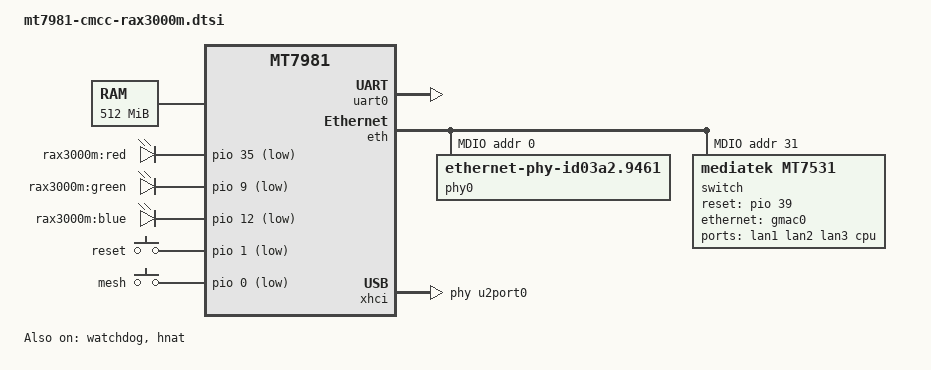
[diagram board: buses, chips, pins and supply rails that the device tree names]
/dts-v1/;
#include "mt7981.dtsi"

/ {
	aliases {
		led-boot = &red_led;
		led-failsafe = &red_led;
		led-running = &green_led;
		led-upgrade = &blue_led;
	};

	memory {
		reg = <0 0x40000000 0 0x20000000>;
	};

	leds {
		compatible = "gpio-leds";

		red_led: red {
			label = "rax3000m:red";
			gpios = <&pio 35 GPIO_ACTIVE_LOW>;
		};

		green_led: green {
			label = "rax3000m:green";
			gpios = <&pio 9 GPIO_ACTIVE_LOW>;
		};

		blue_led: blue {
			label = "rax3000m:blue";
			gpios = <&pio 12 GPIO_ACTIVE_LOW>;
		};
	};

	gpio-keys {
		compatible = "gpio-keys";
		reset {
			label = "reset";
			linux,code = <KEY_RESTART>;
			gpios = <&pio 1 GPIO_ACTIVE_LOW>;
		};

		mesh {
			label = "mesh";
			gpios = <&pio 0 GPIO_ACTIVE_LOW>;
			linux,code = <BTN_9>;
			linux,input-type = <EV_SW>;
		};
	};

	 
};

&uart0 {
	status = "okay";
};

&watchdog {
	status = "okay";
};

&eth {
	status = "okay";

	gmac0: mac@0 {
		compatible = "mediatek,eth-mac";
		reg = <0>;
		phy-mode = "2500base-x";

		fixed-link {
			speed = <2500>;
			full-duplex;
			pause;
		};
	};

	gmac1: mac@1 {
		compatible = "mediatek,eth-mac";
		label = "wan";
		reg = <1>;
		phy-mode = "gmii";
		phy-handle = <&phy0>;
	};

	mdio: mdio-bus {
		#address-cells = <1>;
		#size-cells = <0>;

		phy0: ethernet-phy@0 {
			compatible = "ethernet-phy-id03a2.9461";
			reg = <0>;
			phy-mode = "gmii";
			nvmem-cells = <&phy_calibration>;
			nvmem-cell-names = "phy-cal-data";
		};

		switch@0 {
			compatible = "mediatek,mt7531";
			reg = <31>;
			reset-gpios = <&pio 39 0>;

			ports {
				#address-cells = <1>;
				#size-cells = <0>;

				port@0 {
					reg = <0>;
					label = "lan1";
				};

				port@1 {
					reg = <1>;
					label = "lan2";
				};

				port@2 {
					reg = <2>;
					label = "lan3";
				};

				port@6 {
					reg = <6>;
					label = "cpu";
					ethernet = <&gmac0>;
					phy-mode = "2500base-x";

					fixed-link {
						speed = <2500>;
						full-duplex;
						pause;
					};
				};
			};
		};
	};
};

&hnat {
	mtketh-wan = "eth1";
	mtketh-lan = "lan";
	mtketh-max-gmac = <2>;
	status = "okay";
};

&xhci {
	mediatek,u3p-dis-msk = <0x0>;
	phys = <&u2port0 PHY_TYPE_USB2>,
		   <&u3port0 PHY_TYPE_USB3>;
	status = "okay";
};
